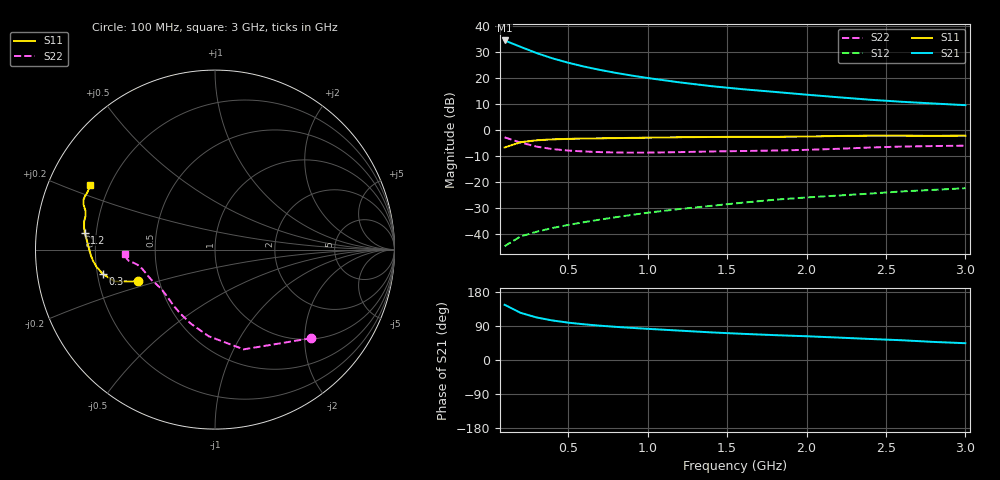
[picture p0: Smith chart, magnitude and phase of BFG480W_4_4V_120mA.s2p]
! Filename: 4_4120BFG480.001
! Title: BFG480W
! Bias: Vce=4.4V; Ic=120mA
! Company: Philips Semiconductors NL
! User: Quality&Reliability T&D
! Measure time: 10 Nov 1999 / 12:07:28
#  MHz  S  MA  R 50
! Freq  S11  S21  S12  S22  :
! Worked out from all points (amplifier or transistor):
!   20 points, 100 MHz to 3 GHz, reference 50 ohm
!   highest |S21| = 34.4 dB at 100 MHz (marker M1)
!   |S21| within 3 dB of that: start of sweep to 224.1 MHz
!   unconditionally stable (mu >= 1): 646.4 MHz to end of sweep
!   at 400 MHz: K = 0.85, MSG = 32.6 dB, |S12| = -37.5 dB
!   at 1.2 GHz: K = 1.09, MAG = 22.5 dB, |S12| = -30.3 dB
!   at 3 GHz: K = 1.05, MAG = 14.6 dB, |S12| = -22.3 dB
!   S11 on the Smith chart (normalised r, x): 100 MHz: 0.38, -0.17; 300 MHz: 0.22, -0.10; 1.2 GHz: 0.16, +0.06; 3 GHz: 0.13, +0.24
100  0.4657 -157.6  52.54 145.8  0.00596 68.1  0.7289 -42.6
200  0.5871 -162.5  39.73 124.5  0.009139 60.6  0.5783 -74.0
300  0.6393 -167.7  30.22 112.4  0.01125 60.3  0.4842 -94.2
400  0.6657 -171.5  23.92 104.4  0.01327 62.4  0.4343 -108.0
500  0.6811 -174.5  19.66 98.6  0.01522 64.8  0.4064 -118.0
600  0.6909 -176.9  16.58 94.2  0.0172 66.5  0.3902 -125.3
700  0.6978 -179.1  14.32 90.6  0.01926 68.8  0.3796 -131.0
800  0.704 179.0  12.55 87.5  0.02141 70.4  0.3734 -135.8
900  0.7115 177.1  11.14 84.8  0.0237 72.2  0.3705 -139.9
1000  0.7175 175.4  10.02 82.3  0.02609 73.1  0.3709 -143.5
1200  0.7317 172.6  8.263 77.5  0.03071 74.6  0.3792 -149.5
1400  0.7402 170.3  6.992 72.9  0.03535 75.5  0.3906 -153.9
1600  0.7458 167.9  6.096 69.0  0.04076 76.2  0.3981 -157.2
1800  0.7454 165.4  5.416 65.6  0.04639 76.7  0.4066 -160.9
2000  0.7546 163.2  4.794 62.7  0.05122 77.1  0.4193 -165.2
2200  0.774 161.1  4.278 59.2  0.05581 77.1  0.4394 -168.9
2400  0.7837 159.3  3.833 55.5  0.06072 76.5  0.4646 -171.2
2600  0.7831 157.7  3.502 52.1  0.0669 75.7  0.4853 -172.7
2800  0.7791 155.4  3.247 47.7  0.07167 74.3  0.4957 -174.4
3000  0.7839 152.8  3.015 44.3  0.07706 73.5  0.504 -177.3
